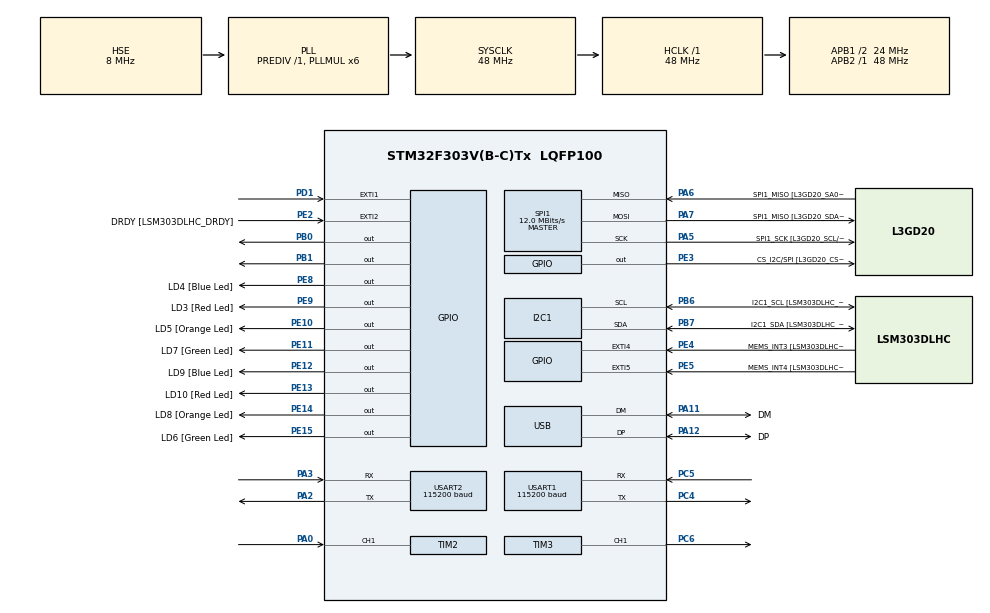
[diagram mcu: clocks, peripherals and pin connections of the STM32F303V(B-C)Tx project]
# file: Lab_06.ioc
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I2C1.Timing=0x00201D2B
I2C1.Timing-I2C=0x2000090E
Mcu.Family=STM32F3
Mcu.Name=STM32F303V(B-C)Tx
Mcu.Package=LQFP100
NVIC.PriorityGroup=NVIC_PRIORITYGROUP_0
NVIC.TIM2_IRQn=true\:0\:0\:false\:false\:true\:true\:true\:true
NVIC.USART1_IRQn=true\:0\:0\:false\:false\:true\:true\:true\:true
NVIC.USB_LP_CAN_RX0_IRQn=true\:0\:0\:false\:false\:true\:false\:true\:true
PA0.Signal=S_TIM2_CH1_ETR
PA11.GPIO_Label=DM
PA11.Mode=Device
PA11.Signal=USB_DM
PA12.GPIO_Label=DP
PA12.Mode=Device
PA12.Signal=USB_DP
PA13.GPIO_Label=SWDIO
PA13.Mode=Serial_Wire
PA13.Signal=SYS_JTMS-SWDIO
PA14.GPIO_Label=SWCLK
PA14.Mode=Serial_Wire
PA14.Signal=SYS_JTCK-SWCLK
PA2.Mode=Asynchronous
PA2.Signal=USART2_TX
PA3.Mode=Asynchronous
PA3.Signal=USART2_RX
PA5.GPIO_Label=SPI1_SCK [L3GD20_SCL/SPC]
PA5.Mode=Full_Duplex_Master
PA5.Signal=SPI1_SCK
PA6.GPIO_Label=SPI1_MISO [L3GD20_SA0/SDO]
PA6.Mode=Full_Duplex_Master
PA6.Signal=SPI1_MISO
PA7.GPIO_Label=SPI1_MISO [L3GD20_SDA/SDI/SDO]
PA7.Mode=Full_Duplex_Master
PA7.Signal=SPI1_MOSI
PB0.Signal=GPIO_Output
PB1.Signal=GPIO_Output
PB3.GPIO_Label=SWO
PB3.Signal=SYS_JTDO-TRACESWO
PB6.GPIO_Label=I2C1_SCL [LSM303DLHC_SCL]
PB6.GPIO_Pu=GPIO_PULLUP
PB6.Mode=I2C
PB6.Signal=I2C1_SCL
PB7.GPIO_Label=I2C1_SDA [LSM303DLHC_SDA]
PB7.GPIO_Pu=GPIO_PULLUP
PB7.Mode=I2C
PB7.Signal=I2C1_SDA
PC14-OSC32_IN.GPIO_Label=OSC32_IN
PC14-OSC32_IN.Signal=RCC_OSC32_IN
PC15-OSC32_OUT.GPIO_Label=OSC32_OUT
PC15-OSC32_OUT.Signal=RCC_OSC32_OUT
PC4.Mode=Asynchronous
PC4.Signal=USART1_TX
PC5.Mode=Asynchronous
PC5.Signal=USART1_RX
PC6.Signal=S_TIM3_CH1
PD1.Signal=GPXTI1
PD4.Signal=S_TIM2_CH2
PE10.GPIO_Label=LD5 [Orange Led]
PE10.Signal=GPIO_Output
PE11.GPIO_Label=LD7 [Green Led]
PE11.Signal=GPIO_Output
PE12.GPIO_Label=LD9 [Blue Led]
PE12.Signal=GPIO_Output
PE13.GPIO_Label=LD10 [Red Led]
PE13.Signal=GPIO_Output
PE14.GPIO_Label=LD8 [Orange Led]
PE14.Signal=GPIO_Output
PE15.GPIO_Label=LD6 [Green Led]
PE15.Signal=GPIO_Output
PE2.GPIO_Label=DRDY [LSM303DLHC_DRDY]
PE2.GPIO_ModeDefaultEXTI=GPIO_MODE_EVT_RISING
PE2.Signal=GPXTI2
PE3.GPIO_Label=CS_I2C/SPI [L3GD20_CS_I2C/SPI]
PE3.Signal=GPIO_Output
PE4.GPIO_Label=MEMS_INT3 [LSM303DLHC_INT1]
PE4.GPIO_ModeDefaultEXTI=GPIO_MODE_EVT_RISING
PE4.Signal=GPXTI4
PE5.GPIO_Label=MEMS_INT4 [LSM303DLHC_INT2]
PE5.GPIO_ModeDefaultEXTI=GPIO_MODE_EVT_RISING
PE5.Signal=GPXTI5
PE8.GPIO_Label=LD4 [Blue Led]
PE8.Signal=GPIO_Output
PE9.GPIO_Label=LD3 [Red Led]
PE9.Signal=GPIO_Output
PF0-OSC_IN.GPIO_Label=OSC_IN
PF0-OSC_IN.Mode=HSE-External-Clock-Source
PF0-OSC_IN.Signal=RCC_OSC_IN
PF1-OSC_OUT.GPIO_Label=OSC_OUT
PF1-OSC_OUT.Signal=RCC_OSC_OUT
ProjectManager.HeapSize=0x200
ProjectManager.StackSize=0x400
ProjectManager.TargetToolchain=CMake
RCC.AHBFreq_Value=48000000
RCC.APB1CLKDivider=RCC_HCLK_DIV2
RCC.APB1Freq_Value=24000000
RCC.APB1TimFreq_Value=48000000
RCC.APB2Freq_Value=48000000
RCC.APB2TimFreq_Value=48000000
RCC.CortexFreq_Value=48000000
RCC.HCLKFreq_Value=48000000
RCC.HSE_VALUE=8000000
RCC.HSI_VALUE=8000000
RCC.LSE_VALUE=32768
RCC.PLLMUL=RCC_PLL_MUL6
RCC.SYSCLKFreq_VALUE=48000000
RCC.SYSCLKSourceVirtual=RCC_SYSCLKSOURCE_PLLCLK
RCC.USBFreq_Value=48000000
SH.S_TIM2_CH1_ETR.0=TIM2_CH1,Input_Capture1_from_TI1
SH.S_TIM2_CH2.0=TIM2_CH2
SH.S_TIM3_CH1.0=TIM3_CH1,PWM Generation1 CH1
SPI1.BaudRatePrescaler=SPI_BAUDRATEPRESCALER_4
SPI1.BaudRatePrescaler-Full_Duplex_Master=SPI_BAUDRATEPRESCALER_2
SPI1.CalculateBaudRate=12.0 MBits/s
SPI1.CalculateBaudRate-Full_Duplex_Master=24.0 MBits/s
SPI1.Direction=SPI_DIRECTION_2LINES
SPI1.Mode=SPI_MODE_MASTER
SPI1.Mode-Full_Duplex_Master=SPI_MODE_MASTER
SPI1.VirtualType=VM_MASTER
TIM2.Channel-Input_Capture1_from_TI1=TIM_CHANNEL_1
TIM2.Prescaler=71
TIM3.Channel-PWM\ Generation1\ CH1=TIM_CHANNEL_1
TIM3.CounterMode=TIM_COUNTERMODE_UP
TIM3.Period=999
TIM3.Prescaler=71
USART1.BaudRate=115200
USART1.VirtualMode-Asynchronous=VM_ASYNC
USART2.BaudRate=115200
USART2.VirtualMode-Asynchronous=VM_ASYNC
USB_DEVICE.CLASS_NAME_FS=CDC
USB_DEVICE.VirtualMode=Cdc
USB_DEVICE.VirtualModeFS=Cdc_FS
VP_TIM2_VS_ClockSourceINT.Mode=Internal
VP_TIM3_VS_ClockSourceINT.Mode=Internal
VP_USB_DEVICE_VS_USB_DEVICE_CDC_FS.Mode=CDC_FS
board=STM32F3DISCOVERY

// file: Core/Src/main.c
/* USER CODE BEGIN Header */
/**
  ******************************************************************************
  * @file           : main.c
  * @brief          : Main program body
  ******************************************************************************
  * @attention
  *
  * Copyright (c) 2026 STMicroelectronics.
  * All rights reserved.
  *
  * This software is licensed under terms that can be found in the LICENSE file
  * in the root directory of this software component.
  * If no LICENSE file comes with this software, it is provided AS-IS.
  *
  ******************************************************************************
  */
/* USER CODE END Header */
#include "main.h"
#include "usb_device.h"

/* USER CODE BEGIN Includes */
#include <stdio.h>
#include <string.h>

/* USER CODE END Includes */

I2C_HandleTypeDef hi2c1;

SPI_HandleTypeDef hspi1;

TIM_HandleTypeDef htim2;
TIM_HandleTypeDef htim3;

UART_HandleTypeDef huart1;
UART_HandleTypeDef huart2;

/* USER CODE BEGIN PV */
#define SAMPLES 10

volatile uint32_t period_array[SAMPLES];
volatile uint8_t index_sample = 0;
volatile uint8_t first_edge = 0;
volatile uint8_t print_flag = 0;
volatile uint32_t ic_val1 = 0;
volatile uint32_t ic_val2 = 0;
volatile uint8_t ic_edge = 0;
volatile uint32_t ic_period = 0;
volatile uint8_t ic_ready = 0;

/* USER CODE END PV */

void SystemClock_Config(void);
static void MX_GPIO_Init(void);
static void MX_I2C1_Init(void);
static void MX_SPI1_Init(void);
static void MX_TIM2_Init(void);
static void MX_USART1_UART_Init(void);
static void MX_TIM3_Init(void);
static void MX_USART2_UART_Init(void);

/* USER CODE BEGIN 0 */
int _write(int file, char *ptr, int len)
{
    HAL_UART_Transmit(&huart1, (uint8_t*)ptr, len, HAL_MAX_DELAY);
    return len;
}

/* USER CODE END 0 */

int main(void)
{

  /* MCU Configuration--------------------------------------------------------*/

  /* Reset of all peripherals, Initializes the Flash interface and the Systick. */

  HAL_Init();

  /* Configure the system clock */
  SystemClock_Config();

  /* Initialize all configured peripherals */
  MX_GPIO_Init();
  MX_I2C1_Init();
  MX_SPI1_Init();
  MX_TIM2_Init();
  MX_USART1_UART_Init();
  MX_USB_DEVICE_Init();
  MX_TIM3_Init();
  MX_USART2_UART_Init();
  /* USER CODE BEGIN 2 */
  HAL_TIM_IC_Start_IT(&htim2, TIM_CHANNEL_1);
  HAL_TIM_Base_Start(&htim3);
  HAL_TIM_PWM_Start(&htim3, TIM_CHANNEL_1);

// Set 50% duty cycle (ARR=999, so CCR=500)
__HAL_TIM_SET_COMPARE(&htim3, TIM_CHANNEL_1, 500);

// Set motor direction (forward = D8 HIGH, D12 LOW)
HAL_GPIO_WritePin(GPIOB, GPIO_PIN_0, GPIO_PIN_SET);   // D8 HIGH
HAL_GPIO_WritePin(GPIOB, GPIO_PIN_1, GPIO_PIN_RESET); // D12 LOW
  /* USER CODE END 2 */

  /* Infinite loop */
  /* USER CODE BEGIN WHILE */
while (1)
{
  HAL_UART_Transmit(&huart1, (uint8_t*)"waiting\r\n", 9, HAL_MAX_DELAY);
    HAL_Delay(500);
  if (ic_ready)
    {
        ic_ready = 0;
        int frequency = 1000000 / (int)(ic_period + 1);
        int rpm = (60 * frequency) / 330;

        char msg[64];
        int len = snprintf(msg, sizeof(msg), "Freq: %d Hz | RPM: %d\r\n", frequency, rpm);
        HAL_UART_Transmit(&huart1, (uint8_t*)msg, len, HAL_MAX_DELAY);
    }

    HAL_Delay(200);
    /* USER CODE END WHILE */

    /* USER CODE BEGIN 3 */
    // #define PPR 330

    // // Wait for first FALLING edge
    // while (HAL_GPIO_ReadPin(GPIOD, GPIO_PIN_1) == GPIO_PIN_RESET);
    // while (HAL_GPIO_ReadPin(GPIOD, GPIO_PIN_1) == GPIO_PIN_SET);

    // // Start timing
    // __HAL_TIM_SET_COUNTER(&htim2, 0);
    // HAL_TIM_Base_Start(&htim2);

    // // Wait for second FALLING edge
    // while (HAL_GPIO_ReadPin(GPIOD, GPIO_PIN_1) == GPIO_PIN_RESET);
    // while (HAL_GPIO_ReadPin(GPIOD, GPIO_PIN_1) == GPIO_PIN_SET);

    // // Stop timing
    // HAL_TIM_Base_Stop(&htim2);
    // uint32_t ticks = __HAL_TIM_GET_COUNTER(&htim2);

    // int frequency = 1000000 / (int)(ticks + 1);
    // int rpm = (60 * frequency) / PPR;

    // char msg[64];
    // int len = snprintf(msg, sizeof(msg), "Ticks: %u | Freq: %d Hz | RPM: %d\r\n",
    //                    (unsigned int)ticks, frequency, rpm);
    // HAL_UART_Transmit(&huart1, (uint8_t*)msg, len, HAL_MAX_DELAY);

    // HAL_Delay(200);
  /* USER CODE END 3 */
}
}
void SystemClock_Config(void)
{
  RCC_OscInitTypeDef RCC_OscInitStruct = {0};
  RCC_ClkInitTypeDef RCC_ClkInitStruct = {0};
  RCC_PeriphCLKInitTypeDef PeriphClkInit = {0};

  /** Initializes the RCC Oscillators according to the specified parameters
  * in the RCC_OscInitTypeDef structure.
  */
  RCC_OscInitStruct.OscillatorType = RCC_OSCILLATORTYPE_HSI|RCC_OSCILLATORTYPE_HSE;
  RCC_OscInitStruct.HSEState = RCC_HSE_BYPASS;
  RCC_OscInitStruct.HSEPredivValue = RCC_HSE_PREDIV_DIV1;
  RCC_OscInitStruct.HSIState = RCC_HSI_ON;
  RCC_OscInitStruct.HSICalibrationValue = RCC_HSICALIBRATION_DEFAULT;
  RCC_OscInitStruct.PLL.PLLState = RCC_PLL_ON;
  RCC_OscInitStruct.PLL.PLLSource = RCC_PLLSOURCE_HSE;
  RCC_OscInitStruct.PLL.PLLMUL = RCC_PLL_MUL6;
  if (HAL_RCC_OscConfig(&RCC_OscInitStruct) != HAL_OK)
  {
    Error_Handler();
  }

  /** Initializes the CPU, AHB and APB buses clocks
  */
  RCC_ClkInitStruct.ClockType = RCC_CLOCKTYPE_HCLK|RCC_CLOCKTYPE_SYSCLK
                              |RCC_CLOCKTYPE_PCLK1|RCC_CLOCKTYPE_PCLK2;
  RCC_ClkInitStruct.SYSCLKSource = RCC_SYSCLKSOURCE_PLLCLK;
  RCC_ClkInitStruct.AHBCLKDivider = RCC_SYSCLK_DIV1;
  RCC_ClkInitStruct.APB1CLKDivider = RCC_HCLK_DIV2;
  RCC_ClkInitStruct.APB2CLKDivider = RCC_HCLK_DIV1;

  if (HAL_RCC_ClockConfig(&RCC_ClkInitStruct, FLASH_LATENCY_1) != HAL_OK)
  {
    Error_Handler();
  }
  PeriphClkInit.PeriphClockSelection = RCC_PERIPHCLK_USB|RCC_PERIPHCLK_USART1
                              |RCC_PERIPHCLK_USART2|RCC_PERIPHCLK_I2C1;
  PeriphClkInit.Usart1ClockSelection = RCC_USART1CLKSOURCE_PCLK2;
  PeriphClkInit.Usart2ClockSelection = RCC_USART2CLKSOURCE_PCLK1;
  PeriphClkInit.I2c1ClockSelection = RCC_I2C1CLKSOURCE_HSI;
  PeriphClkInit.USBClockSelection = RCC_USBCLKSOURCE_PLL;
  if (HAL_RCCEx_PeriphCLKConfig(&PeriphClkInit) != HAL_OK)
  {
    Error_Handler();
  }
}

static void MX_I2C1_Init(void)
{

  hi2c1.Instance = I2C1;
  hi2c1.Init.Timing = 0x00201D2B;
  hi2c1.Init.OwnAddress1 = 0;
  hi2c1.Init.AddressingMode = I2C_ADDRESSINGMODE_7BIT;
  hi2c1.Init.DualAddressMode = I2C_DUALADDRESS_DISABLE;
  hi2c1.Init.OwnAddress2 = 0;
  hi2c1.Init.OwnAddress2Masks = I2C_OA2_NOMASK;
  hi2c1.Init.GeneralCallMode = I2C_GENERALCALL_DISABLE;
  hi2c1.Init.NoStretchMode = I2C_NOSTRETCH_DISABLE;
  if (HAL_I2C_Init(&hi2c1) != HAL_OK)
  {
    Error_Handler();
  }

  /** Configure Analogue filter
  */
  if (HAL_I2CEx_ConfigAnalogFilter(&hi2c1, I2C_ANALOGFILTER_ENABLE) != HAL_OK)
  {
    Error_Handler();
  }

  /** Configure Digital filter
  */
  if (HAL_I2CEx_ConfigDigitalFilter(&hi2c1, 0) != HAL_OK)
  {
    Error_Handler();
  }

}

static void MX_SPI1_Init(void)
{

  /* SPI1 parameter configuration*/
  hspi1.Instance = SPI1;
  hspi1.Init.Mode = SPI_MODE_MASTER;
  hspi1.Init.Direction = SPI_DIRECTION_2LINES;
  hspi1.Init.DataSize = SPI_DATASIZE_4BIT;
  hspi1.Init.CLKPolarity = SPI_POLARITY_LOW;
  hspi1.Init.CLKPhase = SPI_PHASE_1EDGE;
  hspi1.Init.NSS = SPI_NSS_SOFT;
  hspi1.Init.BaudRatePrescaler = SPI_BAUDRATEPRESCALER_4;
  hspi1.Init.FirstBit = SPI_FIRSTBIT_MSB;
  hspi1.Init.TIMode = SPI_TIMODE_DISABLE;
  hspi1.Init.CRCCalculation = SPI_CRCCALCULATION_DISABLE;
  hspi1.Init.CRCPolynomial = 7;
  hspi1.Init.CRCLength = SPI_CRC_LENGTH_DATASIZE;
  hspi1.Init.NSSPMode = SPI_NSS_PULSE_ENABLE;
  if (HAL_SPI_Init(&hspi1) != HAL_OK)
  {
    Error_Handler();
  }

}

static void MX_TIM2_Init(void)
{

  TIM_ClockConfigTypeDef sClockSourceConfig = {0};
  TIM_MasterConfigTypeDef sMasterConfig = {0};
  TIM_IC_InitTypeDef sConfigIC = {0};

  htim2.Instance = TIM2;
  htim2.Init.Prescaler = 71;
  htim2.Init.CounterMode = TIM_COUNTERMODE_UP;
  htim2.Init.Period = 4294967295;
  htim2.Init.ClockDivision = TIM_CLOCKDIVISION_DIV1;
  htim2.Init.AutoReloadPreload = TIM_AUTORELOAD_PRELOAD_DISABLE;
  if (HAL_TIM_Base_Init(&htim2) != HAL_OK)
  {
    Error_Handler();
  }
  sClockSourceConfig.ClockSource = TIM_CLOCKSOURCE_INTERNAL;
  if (HAL_TIM_ConfigClockSource(&htim2, &sClockSourceConfig) != HAL_OK)
  {
    Error_Handler();
  }
  if (HAL_TIM_IC_Init(&htim2) != HAL_OK)
  {
    Error_Handler();
  }
  sMasterConfig.MasterOutputTrigger = TIM_TRGO_RESET;
  sMasterConfig.MasterSlaveMode = TIM_MASTERSLAVEMODE_DISABLE;
  if (HAL_TIMEx_MasterConfigSynchronization(&htim2, &sMasterConfig) != HAL_OK)
  {
    Error_Handler();
  }
  sConfigIC.ICPolarity = TIM_INPUTCHANNELPOLARITY_RISING;
  sConfigIC.ICSelection = TIM_ICSELECTION_DIRECTTI;
  sConfigIC.ICPrescaler = TIM_ICPSC_DIV1;
  sConfigIC.ICFilter = 0;
  if (HAL_TIM_IC_ConfigChannel(&htim2, &sConfigIC, TIM_CHANNEL_1) != HAL_OK)
  {
    Error_Handler();
  }

}

static void MX_TIM3_Init(void)
{

  TIM_ClockConfigTypeDef sClockSourceConfig = {0};
  TIM_MasterConfigTypeDef sMasterConfig = {0};
  TIM_OC_InitTypeDef sConfigOC = {0};

  htim3.Instance = TIM3;
  htim3.Init.Prescaler = 71;
  htim3.Init.CounterMode = TIM_COUNTERMODE_UP;
  htim3.Init.Period = 999;
  htim3.Init.ClockDivision = TIM_CLOCKDIVISION_DIV1;
  htim3.Init.AutoReloadPreload = TIM_AUTORELOAD_PRELOAD_DISABLE;
  if (HAL_TIM_Base_Init(&htim3) != HAL_OK)
  {
    Error_Handler();
  }
  sClockSourceConfig.ClockSource = TIM_CLOCKSOURCE_INTERNAL;
  if (HAL_TIM_ConfigClockSource(&htim3, &sClockSourceConfig) != HAL_OK)
  {
    Error_Handler();
  }
  if (HAL_TIM_PWM_Init(&htim3) != HAL_OK)
  {
    Error_Handler();
  }
  sMasterConfig.MasterOutputTrigger = TIM_TRGO_RESET;
  sMasterConfig.MasterSlaveMode = TIM_MASTERSLAVEMODE_DISABLE;
  if (HAL_TIMEx_MasterConfigSynchronization(&htim3, &sMasterConfig) != HAL_OK)
  {
    Error_Handler();
  }
  sConfigOC.OCMode = TIM_OCMODE_PWM1;
  sConfigOC.Pulse = 0;
  sConfigOC.OCPolarity = TIM_OCPOLARITY_HIGH;
  sConfigOC.OCFastMode = TIM_OCFAST_DISABLE;
  if (HAL_TIM_PWM_ConfigChannel(&htim3, &sConfigOC, TIM_CHANNEL_1) != HAL_OK)
  {
    Error_Handler();
  }
  HAL_TIM_MspPostInit(&htim3);

}

static void MX_USART1_UART_Init(void)
{

  huart1.Instance = USART1;
  huart1.Init.BaudRate = 115200;
  huart1.Init.WordLength = UART_WORDLENGTH_8B;
  huart1.Init.StopBits = UART_STOPBITS_1;
  huart1.Init.Parity = UART_PARITY_NONE;
  huart1.Init.Mode = UART_MODE_TX_RX;
  huart1.Init.HwFlowCtl = UART_HWCONTROL_NONE;
  huart1.Init.OverSampling = UART_OVERSAMPLING_16;
  huart1.Init.OneBitSampling = UART_ONE_BIT_SAMPLE_DISABLE;
  huart1.AdvancedInit.AdvFeatureInit = UART_ADVFEATURE_NO_INIT;
  if (HAL_UART_Init(&huart1) != HAL_OK)
  {
    Error_Handler();
  }

}

static void MX_USART2_UART_Init(void)
{

  huart2.Instance = USART2;
  huart2.Init.BaudRate = 115200;
  huart2.Init.WordLength = UART_WORDLENGTH_8B;
  huart2.Init.StopBits = UART_STOPBITS_1;
  huart2.Init.Parity = UART_PARITY_NONE;
  huart2.Init.Mode = UART_MODE_TX_RX;
  huart2.Init.HwFlowCtl = UART_HWCONTROL_NONE;
  huart2.Init.OverSampling = UART_OVERSAMPLING_16;
  huart2.Init.OneBitSampling = UART_ONE_BIT_SAMPLE_DISABLE;
  huart2.AdvancedInit.AdvFeatureInit = UART_ADVFEATURE_NO_INIT;
  if (HAL_UART_Init(&huart2) != HAL_OK)
  {
    Error_Handler();
  }

}

static void MX_GPIO_Init(void)
{
  GPIO_InitTypeDef GPIO_InitStruct = {0};

  /* GPIO Ports Clock Enable */
  __HAL_RCC_GPIOE_CLK_ENABLE();
  __HAL_RCC_GPIOC_CLK_ENABLE();
  __HAL_RCC_GPIOF_CLK_ENABLE();
  __HAL_RCC_GPIOA_CLK_ENABLE();
  __HAL_RCC_GPIOB_CLK_ENABLE();
  __HAL_RCC_GPIOD_CLK_ENABLE();

  /*Configure GPIO pin Output Level */
  HAL_GPIO_WritePin(GPIOE, CS_I2C_SPI_Pin|LD4_Pin|LD3_Pin|LD5_Pin
                          |LD7_Pin|LD9_Pin|LD10_Pin|LD8_Pin
                          |LD6_Pin, GPIO_PIN_RESET);

  /*Configure GPIO pin Output Level */
  HAL_GPIO_WritePin(GPIOB, GPIO_PIN_0|GPIO_PIN_1, GPIO_PIN_RESET);

  /*Configure GPIO pins : DRDY_Pin MEMS_INT3_Pin MEMS_INT4_Pin */
  GPIO_InitStruct.Pin = DRDY_Pin|MEMS_INT3_Pin|MEMS_INT4_Pin;
  GPIO_InitStruct.Mode = GPIO_MODE_EVT_RISING;
  GPIO_InitStruct.Pull = GPIO_NOPULL;
  HAL_GPIO_Init(GPIOE, &GPIO_InitStruct);

  /*Configure GPIO pins : CS_I2C_SPI_Pin LD4_Pin LD3_Pin LD5_Pin
                           LD7_Pin LD9_Pin LD10_Pin LD8_Pin
                           LD6_Pin */
  GPIO_InitStruct.Pin = CS_I2C_SPI_Pin|LD4_Pin|LD3_Pin|LD5_Pin
                          |LD7_Pin|LD9_Pin|LD10_Pin|LD8_Pin
                          |LD6_Pin;
  GPIO_InitStruct.Mode = GPIO_MODE_OUTPUT_PP;
  GPIO_InitStruct.Pull = GPIO_NOPULL;
  GPIO_InitStruct.Speed = GPIO_SPEED_FREQ_LOW;
  HAL_GPIO_Init(GPIOE, &GPIO_InitStruct);

  /*Configure GPIO pins : PB0 PB1 */
  GPIO_InitStruct.Pin = GPIO_PIN_0|GPIO_PIN_1;
  GPIO_InitStruct.Mode = GPIO_MODE_OUTPUT_PP;
  GPIO_InitStruct.Pull = GPIO_NOPULL;
  GPIO_InitStruct.Speed = GPIO_SPEED_FREQ_LOW;
  HAL_GPIO_Init(GPIOB, &GPIO_InitStruct);

  /*Configure GPIO pin : PD1 */
  GPIO_InitStruct.Pin = GPIO_PIN_1;
  GPIO_InitStruct.Mode = GPIO_MODE_IT_RISING;
  GPIO_InitStruct.Pull = GPIO_NOPULL;
  HAL_GPIO_Init(GPIOD, &GPIO_InitStruct);

}

/* USER CODE BEGIN 4 */
void HAL_TIM_IC_CaptureCallback(TIM_HandleTypeDef *htim)
{
    if (htim->Instance == TIM2)
    {
        if (ic_edge == 0)
        {
            ic_val1 = HAL_TIM_ReadCapturedValue(htim, TIM_CHANNEL_1);
            ic_edge = 1;
        }
        else
        {
            ic_val2 = HAL_TIM_ReadCapturedValue(htim, TIM_CHANNEL_1);
            ic_period = ic_val2 - ic_val1;
            ic_edge = 0;
            ic_ready = 1;
        }
    }
}
// void HAL_GPIO_EXTI_Callback(uint16_t GPIO_Pin)
// {
//     if(GPIO_Pin == GPIO_PIN_0)
//     {
//         if(first_edge == 0)
//         {
//             // First interrupt: start the timer
//             HAL_TIM_Base_Start(&htim2);
//             first_edge = 1;
//             return;
//         }

//         // Second+ interrupt: capture timer value
//         uint32_t current_capture = __HAL_TIM_GET_COUNTER(&htim2);

//         period_array[index_sample++] = current_capture;

//         // Reset timer for next period measurement
//         __HAL_TIM_SET_COUNTER(&htim2, 0);

//         if(index_sample >= SAMPLES)
//         {
//             index_sample = 0;
//             print_flag = 1;
//         }
//     }
// }
/* USER CODE END 4 */

void Error_Handler(void)
{
  __disable_irq();
  while (1)
  {
  }
}
